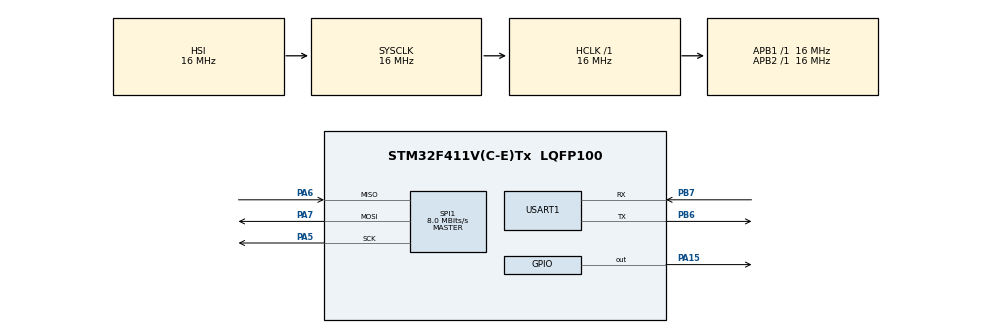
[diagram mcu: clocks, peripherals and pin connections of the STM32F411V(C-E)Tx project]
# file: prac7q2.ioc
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Mcu.Family=STM32F4
Mcu.Name=STM32F411V(C-E)Tx
Mcu.Package=LQFP100
NVIC.PriorityGroup=NVIC_PRIORITYGROUP_4
PA15.Signal=GPIO_Output
PA5.Mode=Full_Duplex_Master
PA5.Signal=SPI1_SCK
PA6.Mode=Full_Duplex_Master
PA6.Signal=SPI1_MISO
PA7.Mode=Full_Duplex_Master
PA7.Signal=SPI1_MOSI
PB6.Mode=Asynchronous
PB6.Signal=USART1_TX
PB7.Mode=Asynchronous
PB7.Signal=USART1_RX
ProjectManager.HeapSize=0x200
ProjectManager.StackSize=0x400
ProjectManager.TargetToolchain=STM32CubeIDE
RCC.AHBFreq_Value=16000000
RCC.APB1Freq_Value=16000000
RCC.APB2Freq_Value=16000000
RCC.CortexFreq_Value=16000000
RCC.HSE_VALUE=25000000
RCC.HSI_VALUE=16000000
RCC.LSE_VALUE=32768
RCC.SYSCLKFreq_VALUE=16000000
RCC.VCOOutputFreq_Value=192000000
SPI1.CalculateBaudRate=8.0 MBits/s
SPI1.Direction=SPI_DIRECTION_2LINES
SPI1.Mode=SPI_MODE_MASTER
SPI1.VirtualType=VM_MASTER
USART1.VirtualMode=VM_ASYNC
VP_FATFS_VS_Generic.Mode=User_defined
board=custom

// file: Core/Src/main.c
/* USER CODE BEGIN Header */
/**
  ******************************************************************************
  * @file           : main.c
  * @brief          : Main program body
  ******************************************************************************
  * @attention
  *
  * <h2><center>&copy; Copyright (c) 2020 STMicroelectronics.
  * All rights reserved.</center></h2>
  *
  * This software component is licensed by ST under BSD 3-Clause license,
  * the "License"; You may not use this file except in compliance with the
  * License. You may obtain a copy of the License at:
  *                        opensource.org/licenses/BSD-3-Clause
  *
  ******************************************************************************
  */
/* USER CODE END Header */

#include "main.h"
#include "fatfs.h"

/* USER CODE BEGIN Includes */
#include "sd.h"
#include <stdio.h>
/* USER CODE END Includes */

SPI_HandleTypeDef hspi1;

UART_HandleTypeDef huart1;

void SystemClock_Config(void);
static void MX_GPIO_Init(void);
static void MX_SPI1_Init(void);
static void MX_USART1_UART_Init(void);

/* USER CODE BEGIN 0 */
uint8_t cmdbuffer[6];
uint8_t resp;

uint8_t outstr[1000];
uint32_t outlen;

uint8_t csdbuffer[16];

FRESULT fres;
FATFS fs;
FIL fil;
UINT numwritten;
/* USER CODE END 0 */

int main(void)
{

  /* MCU Configuration--------------------------------------------------------*/

  /* Reset of all peripherals, Initializes the Flash interface and the Systick. */
  HAL_Init();

  /* Configure the system clock */
  SystemClock_Config();

  /* Initialize all configured peripherals */
  MX_GPIO_Init();
  MX_SPI1_Init();
  MX_FATFS_Init();
  MX_USART1_UART_Init();
  /* USER CODE BEGIN 2 */

  SD_Init();

  // Set CS low
  HAL_GPIO_WritePin(GPIOA, GPIO_PIN_15, GPIO_PIN_RESET);

  SD_SendCommand(10, 0);
  SD_RxDataBlock(csdbuffer, 16);

  outlen = sprintf((char*) outstr,
		  "%02X,%02X,%02X,%02X,%02X,%02X,%02X,%02X,%02X,%02X,%02X,%02X,%02X,%02X,%02X,%02X\n",
		  csdbuffer[0], csdbuffer[1], csdbuffer[2], csdbuffer[3], csdbuffer[4], csdbuffer[5],
		  csdbuffer[6], csdbuffer[7], csdbuffer[8], csdbuffer[9], csdbuffer[10], csdbuffer[11],
		  csdbuffer[12], csdbuffer[13], csdbuffer[14], csdbuffer[15]);

  HAL_UART_Transmit(&huart1, outstr, outlen, 10);

  /* USER CODE END 2 */

  /* Infinite loop */
  while (1)
  {

  }
}

void SystemClock_Config(void)
{
  RCC_OscInitTypeDef RCC_OscInitStruct = {0};
  RCC_ClkInitTypeDef RCC_ClkInitStruct = {0};

  /** Configure the main internal regulator output voltage
  */
  __HAL_RCC_PWR_CLK_ENABLE();
  __HAL_PWR_VOLTAGESCALING_CONFIG(PWR_REGULATOR_VOLTAGE_SCALE1);
  /** Initializes the CPU, AHB and APB busses clocks
  */
  RCC_OscInitStruct.OscillatorType = RCC_OSCILLATORTYPE_HSI;
  RCC_OscInitStruct.HSIState = RCC_HSI_ON;
  RCC_OscInitStruct.HSICalibrationValue = RCC_HSICALIBRATION_DEFAULT;
  RCC_OscInitStruct.PLL.PLLState = RCC_PLL_NONE;
  if (HAL_RCC_OscConfig(&RCC_OscInitStruct) != HAL_OK)
  {
    Error_Handler();
  }
  /** Initializes the CPU, AHB and APB busses clocks
  */
  RCC_ClkInitStruct.ClockType = RCC_CLOCKTYPE_HCLK|RCC_CLOCKTYPE_SYSCLK
                              |RCC_CLOCKTYPE_PCLK1|RCC_CLOCKTYPE_PCLK2;
  RCC_ClkInitStruct.SYSCLKSource = RCC_SYSCLKSOURCE_HSI;
  RCC_ClkInitStruct.AHBCLKDivider = RCC_SYSCLK_DIV1;
  RCC_ClkInitStruct.APB1CLKDivider = RCC_HCLK_DIV1;
  RCC_ClkInitStruct.APB2CLKDivider = RCC_HCLK_DIV1;

  if (HAL_RCC_ClockConfig(&RCC_ClkInitStruct, FLASH_LATENCY_0) != HAL_OK)
  {
    Error_Handler();
  }
}

static void MX_SPI1_Init(void)
{

  /* SPI1 parameter configuration*/
  hspi1.Instance = SPI1;
  hspi1.Init.Mode = SPI_MODE_MASTER;
  hspi1.Init.Direction = SPI_DIRECTION_2LINES;
  hspi1.Init.DataSize = SPI_DATASIZE_8BIT;
  hspi1.Init.CLKPolarity = SPI_POLARITY_LOW;
  hspi1.Init.CLKPhase = SPI_PHASE_1EDGE;
  hspi1.Init.NSS = SPI_NSS_SOFT;
  hspi1.Init.BaudRatePrescaler = SPI_BAUDRATEPRESCALER_2;
  hspi1.Init.FirstBit = SPI_FIRSTBIT_MSB;
  hspi1.Init.TIMode = SPI_TIMODE_DISABLE;
  hspi1.Init.CRCCalculation = SPI_CRCCALCULATION_DISABLE;
  hspi1.Init.CRCPolynomial = 10;
  if (HAL_SPI_Init(&hspi1) != HAL_OK)
  {
    Error_Handler();
  }

}

static void MX_USART1_UART_Init(void)
{

  huart1.Instance = USART1;
  huart1.Init.BaudRate = 115200;
  huart1.Init.WordLength = UART_WORDLENGTH_8B;
  huart1.Init.StopBits = UART_STOPBITS_1;
  huart1.Init.Parity = UART_PARITY_NONE;
  huart1.Init.Mode = UART_MODE_TX_RX;
  huart1.Init.HwFlowCtl = UART_HWCONTROL_NONE;
  huart1.Init.OverSampling = UART_OVERSAMPLING_16;
  if (HAL_UART_Init(&huart1) != HAL_OK)
  {
    Error_Handler();
  }

}

static void MX_GPIO_Init(void)
{
  GPIO_InitTypeDef GPIO_InitStruct = {0};

  /* GPIO Ports Clock Enable */
  __HAL_RCC_GPIOA_CLK_ENABLE();
  __HAL_RCC_GPIOB_CLK_ENABLE();

  /*Configure GPIO pin Output Level */
  HAL_GPIO_WritePin(GPIOA, GPIO_PIN_15, GPIO_PIN_RESET);

  /*Configure GPIO pin : PA15 */
  GPIO_InitStruct.Pin = GPIO_PIN_15;
  GPIO_InitStruct.Mode = GPIO_MODE_OUTPUT_PP;
  GPIO_InitStruct.Pull = GPIO_NOPULL;
  GPIO_InitStruct.Speed = GPIO_SPEED_FREQ_LOW;
  HAL_GPIO_Init(GPIOA, &GPIO_InitStruct);

}

void Error_Handler(void)
{
}

/************************ (C) COPYRIGHT STMicroelectronics *****END OF FILE****/
